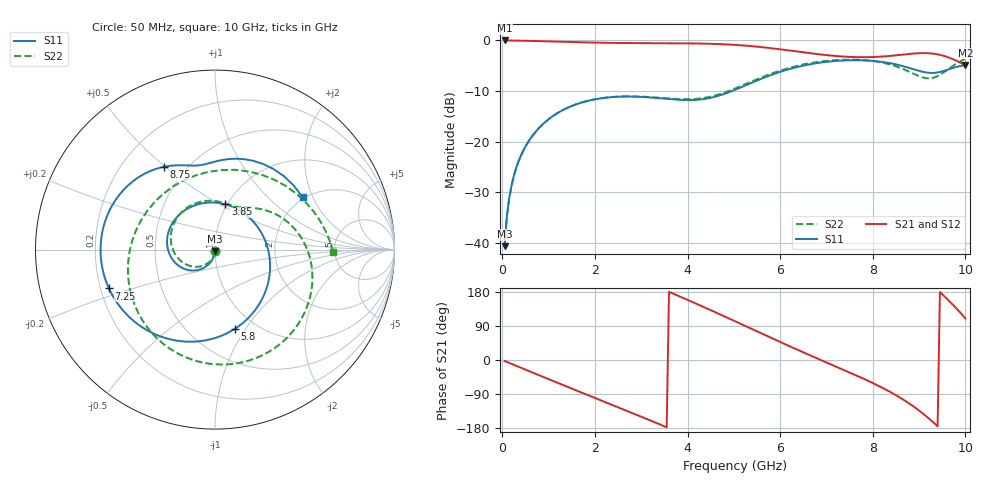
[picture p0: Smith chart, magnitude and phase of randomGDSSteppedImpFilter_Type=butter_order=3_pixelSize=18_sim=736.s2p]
! freq	dB(S11)	phase(S11)	dB(S12)	phase(S12)
!  dB(S21)	phase(S21)	dB(S22)	phase(S22)
!S-par simulation data
#  GHz  S  DB  R 50
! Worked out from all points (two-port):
!   200 points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, 50 MHz to 10 GHz, reference 50 ohm
!   highest |S21| = 0.00 dB at 50 MHz (marker M1); lowest = -4.9 dB at 10 GHz (marker M2)
!   |S21| within 3 dB of the highest: start of sweep to 7.112 GHz; 8.44 GHz to 9.517 GHz (1.077 GHz wide, 12 % of centre)
!   lowest |S11| = -40.6 dB at 50 MHz (marker M3), VSWR 1.02, Z = 50 - j0.927 ohm
!   |S11| at or under -10 dB: start of sweep to 4.957 GHz
!   |S22| runs from -40.6 to -3.6 dB; largest |S21 - S12| = 0
!   S11 on the Smith chart (normalised r, x): 50 MHz: 1.00, -0.02; 3.85 GHz: 0.98, +0.53; 5.8 GHz: 0.80, -0.90; 7.25 GHz: 0.23, -0.17; 8.75 GHz: 0.38, +0.50; 10 GHz: 1.95, +1.68
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0.05  -40.64 -92.4  -0.00 -2.6  -0.00 -2.6  -40.65 -93.0
0.1  -34.63 -94.8  -0.01 -5.1  -0.01 -5.1  -34.64 -95.9
0.2  -28.64 -99.6  -0.02 -10.2  -0.02 -10.2  -28.65 -101.9
0.5  -20.96 -113.6  -0.07 -25.4  -0.07 -25.4  -20.98 -119.4
1.15  -14.58 -142.3  -0.22 -58.0  -0.22 -58.0  -14.59 -155.3
1.75  -12.17 -169.0  -0.37 -87.6  -0.37 -87.6  -12.17 172.0
2.5  -11.12 156.5  -0.50 -124.5  -0.50 -124.5  -11.10 132.8
3.4  -11.42 107.8  -0.55 -169.8  -0.55 -169.8  -11.33 91.1
3.85  -11.75 77.2  -0.56 166.7  -0.56 166.7  -11.60 74.8
4.5  -11.33 24.4  -0.66 131.6  -0.66 131.6  -11.10 57.3
5.05  -9.66 -21.6  -0.89 100.9  -0.89 100.9  -9.41 42.0
5.8  -6.84 -75.9  -1.52 58.6  -1.52 58.6  -6.60 12.2
6.25  -5.53 -104.2  -2.05 33.7  -2.05 33.7  -5.29 -9.0
6.7  -4.62 -130.1  -2.59 9.5  -2.59 9.5  -4.41 -31.2
7.25  -4.02 -159.9  -3.11 -19.5  -3.11 -19.5  -3.85 -59.2
7.85  -3.96 168.6  -3.31 -52.1  -3.31 -52.1  -3.92 -92.5
8.35  -4.45 142.1  -3.08 -82.5  -3.08 -82.5  -4.69 -127.0
8.75  -5.33 121.6  -2.70 -111.7  -2.70 -111.7  -6.02 -165.9
9.05  -6.13 108.2  -2.50 -138.2  -2.50 -138.2  -7.22 151.0
9.4  -6.32 93.6  -2.74 -174.8  -2.74 -174.8  -7.03 85.2
9.75  -5.37 66.5  -3.77 143.3  -3.77 143.3  -4.90 27.9
10  -4.90 30.9  -4.86 109.7  -4.86 109.7  -3.63 -1.2
